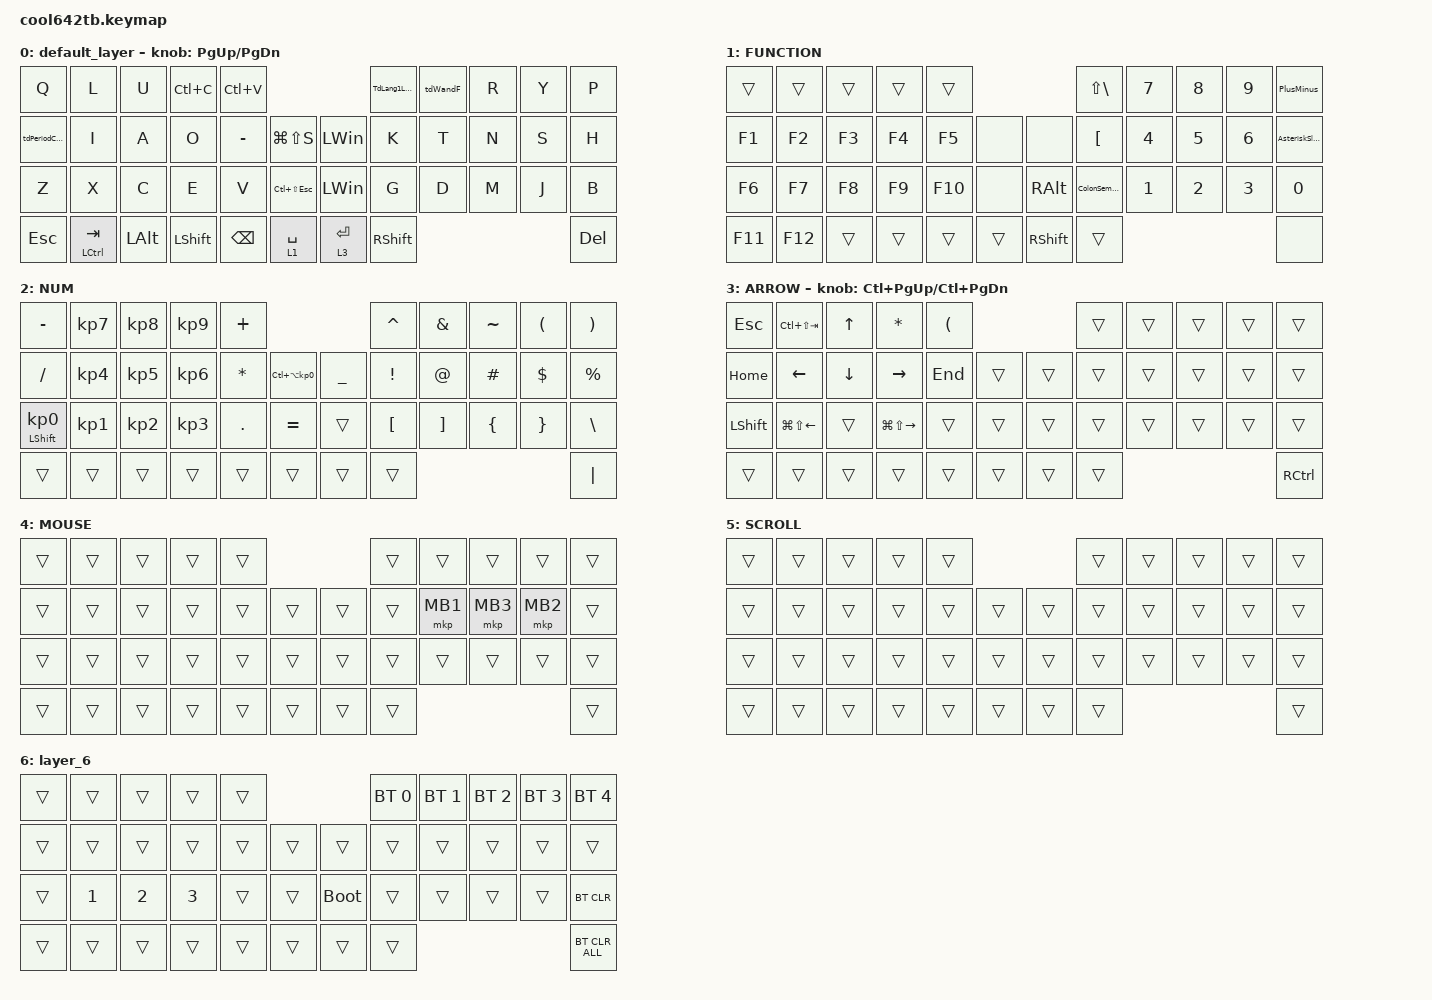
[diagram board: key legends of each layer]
#include <behaviors.dtsi>
#include <dt-bindings/zmk/bt.h>
#include <dt-bindings/zmk/keys.h>
#include <dt-bindings/zmk/pointing.h>

#define MOUSE 4
#define SCROLL 5

&mt {
    flavor = "balanced";
    quick-tap-ms = <0>;
};

/ {
    combos {
        compatible = "zmk,combos";

        Alt_tab {
            bindings = <&kp LA(TAB)>;
            key-positions = <12 13>;
        };

        Ctrl_Z {
            bindings = <&kp LC(Z)>;
            key-positions = <12 11>;
        };

        Ctrl_P {
            bindings = <&kp LC(P)>;
            key-positions = <14 13>;
        };

        Ctrl_S {
            bindings = <&kp LC(S)>;
            key-positions = <10 14>;
        };
    };

    macros {
        to_layer_0: to_layer_0 {
            compatible = "zmk,behavior-macro-one-param";
            #binding-cells = <1>;
            bindings = <&to 0 &macro_param_1to1 &kp MACRO_PLACEHOLDER>;
            label = "TO_LAYER_0";
        };
    };

    behaviors {
        lt_to_layer_0: lt_to_layer_0 {
            compatible = "zmk,behavior-hold-tap";
            label = "LAYER_TAP_TO_0";
            bindings = <&mo>, <&to_layer_0>;
            #binding-cells = <2>;
            tapping-term-ms = <200>;
        };

        tdPeriodComma: tdPeriodComma {
            compatible = "zmk,behavior-tap-dance";
            label = "TDPERIODCOMMA";
            #binding-cells = <0>;
            bindings = <&kp COMMA>, <&kp PERIOD>;
        };

        tdWandF: tdWandF {
            compatible = "zmk,behavior-tap-dance";
            label = "TDWANDF";
            #binding-cells = <0>;
            bindings = <&kp W>, <&kp F>;
            tapping-term-ms = <150>;
        };

        PlusMinus: PlusMinus {
            compatible = "zmk,behavior-tap-dance";
            label = "PLUSMINUS";
            #binding-cells = <0>;
            bindings = <&kp LS(SEMI)>, <&kp MINUS>;
            tapping-term-ms = <200>;
        };

        AsteriskSlash: AsteriskSlash {
            compatible = "zmk,behavior-tap-dance";
            label = "ASTERISKSLASH";
            #binding-cells = <0>;
            tapping-term-ms = <200>;
            bindings = <&kp LS(SINGLE_QUOTE)>, <&kp SLASH>;
        };

        ColonSemicolon: ColonSemicolon {
            compatible = "zmk,behavior-tap-dance";
            label = "COLONSEMICOLON";
            #binding-cells = <0>;
            tapping-term-ms = <200>;
            bindings = <&kp APOS>, <&kp SEMI>;
        };

        TdLang1Lang2: TdLang1Lang2 {
            compatible = "zmk,behavior-tap-dance";
            label = "TDLANG1LANG2";
            #binding-cells = <0>;
            bindings = <&kp LANGUAGE_1>, <&kp LANG2>;
        };
    };

    keymap {
        compatible = "zmk,keymap";

        default_layer {
            bindings = <
&kp Q           &kp L          &kp U         &kp LC(C)       &kp LC(V)                                            &TdLang1Lang2   &tdWandF  &kp R  &kp Y  &kp P
&tdPeriodComma  &kp I          &kp A         &kp O           &kp MINUS      &kp LG(LS(S))       &kp LEFT_WIN       &kp K           &kp T     &kp N  &kp S  &kp H
&kp Z           &kp X          &kp C         &kp E           &kp V          &kp LC(LS(ESCAPE))  &kp LEFT_WIN       &kp G           &kp D     &kp M  &kp J  &kp B
&kp ESC         &mt LCTRL TAB  &kp LEFT_ALT  &kp LEFT_SHIFT  &kp BACKSPACE  &lt 1 SPACE         &lt 3 ENTER        &kp RIGHT_SHIFT                          &kp DEL
            >;

            sensor-bindings = <&inc_dec_kp PG_UP PAGE_DOWN>;
        };

        FUNCTION {
            bindings = <
&trans   &trans   &trans  &trans  &trans                         &kp LS(BACKSLASH)  &kp NUMBER_7  &kp NUMBER_8  &kp N9        &PlusMinus
&kp F1   &kp F2   &kp F3  &kp F4  &kp F5   &none    &none        &kp LEFT_BRACKET   &kp NUMBER_4  &kp NUMBER_5  &kp NUMBER_6  &AsteriskSlash
&kp F6   &kp F7   &kp F8  &kp F9  &kp F10  &none    &kp RALT     &ColonSemicolon    &kp NUMBER_1  &kp NUMBER_2  &kp NUMBER_3  &kp N0
&kp F11  &kp F12  &trans  &trans  &trans   &trans   &kp RSHIFT   &trans                                                       &none
            >;
        };

        NUM {
            bindings = <
&kp MINUS                   &kp KP_N7  &kp KP_N8  &kp KP_N9  &kp PLUS                                              &kp CARET    &kp AMPS       &kp TILDE  &kp LPAR   &kp RPAR
&kp SLASH                   &kp KP_N4  &kp KP_N5  &kp KP_N6  &kp ASTRK  &kp LC(LA(KP_N0))  &kp UNDER              &kp EXCL     &kp AT         &kp HASH   &kp DLLR   &kp PRCNT
&mt LEFT_SHIFT KP_N0        &kp KP_N1  &kp KP_N2  &kp KP_N3  &kp DOT    &kp EQUAL          &trans                 &kp LBKT     &kp RBKT       &kp LBRC   &kp RBRC   &kp BSLH
&trans                      &trans     &trans      &trans     &trans     &trans             &trans                 &trans                                             &kp PIPE
            >;
        };

        ARROW {
            bindings = <
&kp ESC    &kp LC(LS(TAB))        &kp UP     &kp ASTRK              &kp LPAR                      &trans  &trans  &trans  &trans  &trans
&kp HOME   &kp LEFT               &kp DOWN   &kp RIGHT              &kp END    &trans    &trans    &trans  &trans  &trans  &trans  &trans
&kp LSHFT  &kp LG(LS(LEFT))       &trans     &kp LG(LS(RIGHT))      &trans     &trans    &trans    &trans  &trans  &trans  &trans  &trans
&trans     &trans                 &trans     &trans                 &trans     &trans    &trans    &trans                          &kp RCTRL
            >;

            sensor-bindings = <&inc_dec_kp LC(PG_UP) LC(PG_DN)>;
        };

        MOUSE {
            bindings = <
&trans  &trans  &trans  &trans  &trans                      &trans  &trans    &trans    &trans    &trans
&trans  &trans  &trans  &trans  &trans  &trans    &trans    &trans  &mkp MB1  &mkp MB3  &mkp MB2  &trans
&trans  &trans  &trans  &trans  &trans  &trans    &trans    &trans  &trans    &trans    &trans    &trans
&trans  &trans  &trans  &trans  &trans  &trans    &trans    &trans                                &trans
            >;
        };

        SCROLL {
            bindings = <
&trans  &trans  &trans  &trans  &trans                      &trans  &trans  &trans  &trans  &trans
&trans  &trans  &trans  &trans  &trans  &trans    &trans    &trans  &trans  &trans  &trans  &trans
&trans  &trans  &trans  &trans  &trans  &trans    &trans    &trans  &trans  &trans  &trans  &trans
&trans  &trans  &trans  &trans  &trans  &trans    &trans    &trans                          &trans
            >;
        };

        layer_6 {
            bindings = <
&trans  &trans        &trans        &trans        &trans                           &bt BT_SEL 0  &bt BT_SEL 1  &bt BT_SEL 2  &bt BT_SEL 3  &bt BT_SEL 4
&trans  &trans        &trans        &trans        &trans  &trans    &trans         &trans        &trans        &trans        &trans        &trans
&trans  &kp NUMBER_1  &kp NUMBER_2  &kp NUMBER_3  &trans  &trans    &bootloader    &trans        &trans        &trans        &trans        &bt BT_CLR
&trans  &trans        &trans        &trans        &trans  &trans    &trans         &trans                                                  &bt BT_CLR_ALL
            >;
        };
    };
};
